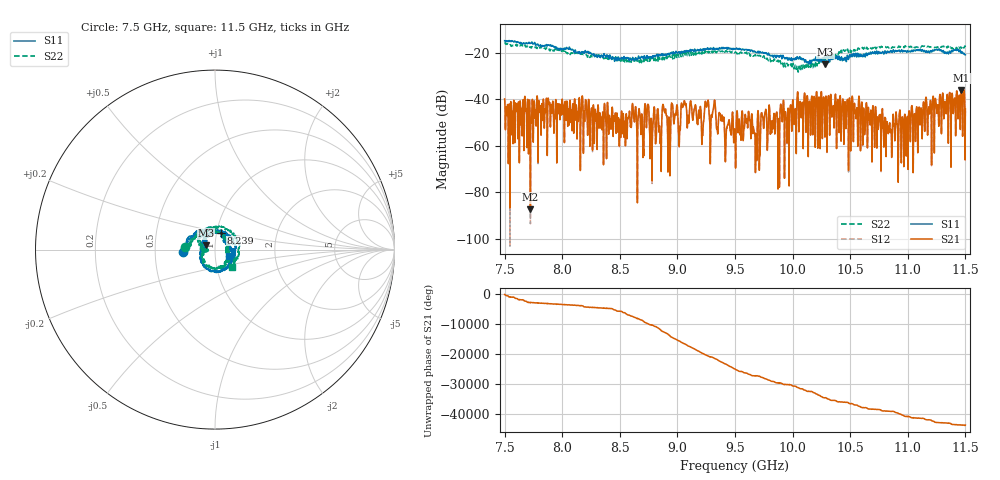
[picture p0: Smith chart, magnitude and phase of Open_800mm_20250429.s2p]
#  HZ  S  DB  R  50.00
! Rohde & Schwarz ZVA40 2Ports - Version 4.11 - 1145.1110k40 SN: 100216
! Date: 2025-04-29 18:33:58
! Measurements: S11 S21 S12 S22
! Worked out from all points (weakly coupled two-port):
!   5001 points, 7.5 GHz to 11.5 GHz, reference 50 ohm
!   highest |S21| = -36.05 dB at 11.47 GHz (marker M1); lowest = -87.3 dB at 7.724 GHz (marker M2)
!   lowest |S11| = -25.1 dB at 10.28 GHz (marker M3), VSWR 1.12, Z = 45.2 + j2.09 ohm
!   |S11| at or under -10 dB: start of sweep to end of sweep
!   |S22| runs from -28.5 to -15.6 dB; largest |S21 - S12| = 0.00014
!   S11 on the Smith chart (normalised r, x): 7.5 GHz: 0.70, -0.02; 8.239 GHz: 1.05, +0.20; 11.5 GHz: 1.17, -0.08
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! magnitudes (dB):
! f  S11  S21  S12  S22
! 7.5 GHz  -14.9  -39.9  -39.9  -15.6
! 7.724 GHz  -16.0  -87.3  -93.6  -17.6
! 8.167 GHz  -19.9  -43.7  -43.6  -20.7
! 8.239 GHz  -19.9  -58.9  -58.8  -22.1
! 8.624 GHz  -23.1  -48.5  -48.5  -22.9
! 8.694 GHz  -21.9  -47.3  -47.4  -23.4
! 8.734 GHz  -21.6  -50.4  -50.4  -22.8
! 8.834 GHz  -21.6  -46.0  -46.0  -24.0
! 8.887 GHz  -20.8  -45.5  -45.4  -23.1
! 8.925 GHz  -20.4  -47.8  -47.7  -21.9
! 9.054 GHz  -19.8  -42.4  -42.4  -21.1
! 9.211 GHz  -19.1  -59.4  -59.4  -20.7
! 9.254 GHz  -18.6  -43.5  -43.5  -20.0
! 9.5 GHz  -18.4  -54.4  -54.4  -19.9
! 9.606 GHz  -19.1  -48.9  -48.9  -20.7
! 9.673 GHz  -19.7  -55.0  -54.9  -21.0
! 9.75 GHz  -20.1  -52.2  -52.2  -21.4
! 10.17 GHz  -23.3  -38.7  -38.7  -24.6
! 10.28 GHz  -25.1  -43.4  -43.4  -23.5
! 10.83 GHz  -19.7  -52.6  -52.6  -18.0
! 11.47 GHz  -20.2  -36.1  -36.1  -18.1
! 11.5 GHz  -21.0  -44.2  -44.2  -17.6
